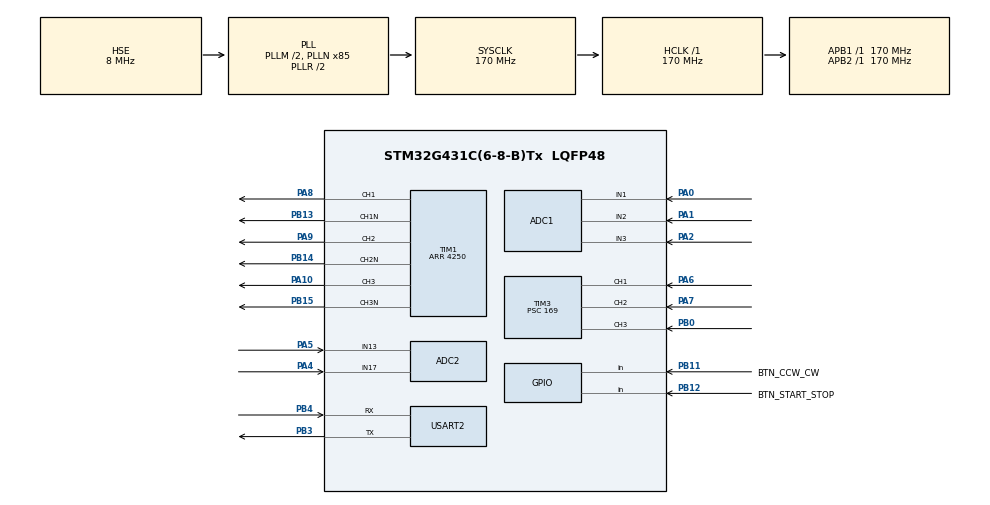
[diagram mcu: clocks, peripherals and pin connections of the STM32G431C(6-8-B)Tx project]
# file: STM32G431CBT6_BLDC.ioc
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ADC1.EnableInjectedConversion=ENABLE
ADC1.EnableRegularConversion=DISABLE
ADC1.ExternalTrigInjecConv=ADC_EXTERNALTRIGINJEC_T1_TRGO
ADC1.InjNumberOfConversion=3
ADC1.InjectedChannel-1\#ChannelInjectedConversion=ADC_CHANNEL_1
ADC1.InjectedChannel-2\#ChannelInjectedConversion=ADC_CHANNEL_2
ADC1.InjectedChannel-3\#ChannelInjectedConversion=ADC_CHANNEL_3
ADC1.InjectedOffsetNumber-1\#ChannelInjectedConversion=ADC_OFFSET_NONE
ADC1.InjectedOffsetNumber-2\#ChannelInjectedConversion=ADC_OFFSET_NONE
ADC1.InjectedOffsetNumber-3\#ChannelInjectedConversion=ADC_OFFSET_NONE
ADC1.InjectedRank-1\#ChannelInjectedConversion=1
ADC1.InjectedRank-2\#ChannelInjectedConversion=2
ADC1.InjectedRank-3\#ChannelInjectedConversion=3
ADC1.InjectedSamplingTime-1\#ChannelInjectedConversion=ADC_SAMPLETIME_12CYCLES_5
ADC1.InjectedSamplingTime-2\#ChannelInjectedConversion=ADC_SAMPLETIME_12CYCLES_5
ADC1.InjectedSamplingTime-3\#ChannelInjectedConversion=ADC_SAMPLETIME_12CYCLES_5
ADC1.Rank1_Channel=ADC_CHANNEL_1
ADC1.Rank2_Channel=ADC_CHANNEL_2
ADC1.Rank3_Channel=ADC_CHANNEL_3
ADC1.master=1
ADC2.Channel-0\#ChannelRegularConversion=ADC_CHANNEL_13
ADC2.EnableInjectedConversion=ENABLE
ADC2.ExternalTrigConv=ADC_EXTERNALTRIG_T1_TRGO
ADC2.ExternalTrigInjecConv=ADC_EXTERNALTRIGINJEC_T1_TRGO
ADC2.InjNumberOfConversion=1
ADC2.InjectedChannel-1\#ChannelInjectedConversion=ADC_CHANNEL_17
ADC2.InjectedOffsetNumber-1\#ChannelInjectedConversion=ADC_OFFSET_NONE
ADC2.InjectedRank-1\#ChannelInjectedConversion=1
ADC2.InjectedSamplingTime-1\#ChannelInjectedConversion=ADC_SAMPLETIME_24CYCLES_5
ADC2.NbrOfConversionFlag=1
ADC2.OffsetNumber-0\#ChannelRegularConversion=ADC_OFFSET_NONE
ADC2.Rank-0\#ChannelRegularConversion=1
ADC2.Rank1_Channel=ADC_CHANNEL_17
ADC2.SamplingTime-0\#ChannelRegularConversion=ADC_SAMPLETIME_640CYCLES_5
Mcu.Family=STM32G4
Mcu.Name=STM32G431C(6-8-B)Tx
Mcu.Package=LQFP48
NVIC.ADC1_2_IRQn=true\:0\:0\:false\:false\:true\:true\:true\:true
NVIC.PriorityGroup=NVIC_PRIORITYGROUP_4
NVIC.TIM3_IRQn=true\:0\:0\:false\:false\:true\:true\:true\:true
PA0.Mode=IN1-Single-Ended
PA0.Signal=ADC1_IN1
PA1.Mode=IN2-Single-Ended
PA1.Signal=ADC1_IN2
PA10.Signal=S_TIM1_CH3
PA13.Mode=Serial_Wire
PA13.Signal=SYS_JTMS-SWDIO
PA14.Mode=Serial_Wire
PA14.Signal=SYS_JTCK-SWCLK
PA2.Mode=IN3-Single-Ended
PA2.Signal=ADC1_IN3
PA4.Mode=IN17-Single-Ended
PA4.Signal=ADC2_IN17
PA5.Mode=IN13-Single-Ended
PA5.Signal=ADC2_IN13
PA6.Signal=S_TIM3_CH1
PA7.Signal=S_TIM3_CH2
PA8.Signal=S_TIM1_CH1
PA9.Signal=S_TIM1_CH2
PB0.Signal=S_TIM3_CH3
PB11.GPIO_Label=BTN_CCW_CW
PB11.Signal=GPIO_Input
PB12.GPIO_Label=BTN_START_STOP
PB12.Signal=GPIO_Input
PB13.Mode=PWM Generation1 CH1 CH1N
PB13.Signal=TIM1_CH1N
PB14.Mode=PWM Generation2 CH2 CH2N
PB14.Signal=TIM1_CH2N
PB15.Mode=PWM Generation3 CH3 CH3N
PB15.Signal=TIM1_CH3N
PB3.Mode=Asynchronous
PB3.Signal=USART2_TX
PB4.Mode=Asynchronous
PB4.Signal=USART2_RX
PF0-OSC_IN.Mode=HSE-External-Oscillator
PF0-OSC_IN.Signal=RCC_OSC_IN
PF1-OSC_OUT.Mode=HSE-External-Oscillator
PF1-OSC_OUT.Signal=RCC_OSC_OUT
ProjectManager.HeapSize=0x200
ProjectManager.StackSize=0x400
ProjectManager.TargetToolchain=CMake
RCC.ADC12Freq_Value=170000000
RCC.AHBFreq_Value=170000000
RCC.APB1Freq_Value=170000000
RCC.APB1TimFreq_Value=170000000
RCC.APB2Freq_Value=170000000
RCC.APB2TimFreq_Value=170000000
RCC.CortexFreq_Value=170000000
RCC.EXTERNAL_CLOCK_VALUE=12288000
RCC.HCLKFreq_Value=170000000
RCC.HSE_VALUE=8000000
RCC.HSI48_VALUE=48000000
RCC.HSI_VALUE=16000000
RCC.LSE_VALUE=32768
RCC.PLLM=RCC_PLLM_DIV2
RCC.PLLN=85
RCC.PLLSourceVirtual=RCC_PLLSOURCE_HSE
RCC.SYSCLKFreq_VALUE=170000000
RCC.SYSCLKSource=RCC_SYSCLKSOURCE_PLLCLK
RCC.USBFreq_Value=170000000
RCC.VCOOutputFreq_Value=340000000
SH.S_TIM1_CH1.0=TIM1_CH1,PWM Generation1 CH1 CH1N
SH.S_TIM1_CH2.0=TIM1_CH2,PWM Generation2 CH2 CH2N
SH.S_TIM1_CH3.0=TIM1_CH3,PWM Generation3 CH3 CH3N
SH.S_TIM3_CH1.0=TIM3_CH1,Xored_Inputs_Hall_Sensor_Interface
SH.S_TIM3_CH2.0=TIM3_CH2,Xored_Inputs_Hall_Sensor_Interface
SH.S_TIM3_CH3.0=TIM3_CH3,Xored_Inputs_Hall_Sensor_Interface
TIM1.Channel-PWM\ Generation1\ CH1\ CH1N=TIM_CHANNEL_1
TIM1.Channel-PWM\ Generation2\ CH2\ CH2N=TIM_CHANNEL_2
TIM1.Channel-PWM\ Generation3\ CH3\ CH3N=TIM_CHANNEL_3
TIM1.CounterMode=TIM_COUNTERMODE_CENTERALIGNED2
TIM1.DeadTime=203
TIM1.OCMode_PWM-PWM\ Generation1\ CH1\ CH1N=TIM_OCMODE_PWM2
TIM1.OCMode_PWM-PWM\ Generation2\ CH2\ CH2N=TIM_OCMODE_PWM2
TIM1.OCMode_PWM-PWM\ Generation3\ CH3\ CH3N=TIM_OCMODE_PWM2
TIM1.PeriodNoDither=4250
TIM1.PulseNoDither_1=4250
TIM1.PulseNoDither_2=4250
TIM1.PulseNoDither_3=4250
TIM1.TIM_MasterOutputTrigger=TIM_TRGO_UPDATE
TIM3.IC1Filter=15
TIM3.Prescaler=169
USART2.VirtualMode-Asynchronous=VM_ASYNC
VP_SYS_VS_DBSignals.Mode=DisableDeadBatterySignals
VP_TIM1_VS_ClockSourceINT.Mode=Internal
board=custom

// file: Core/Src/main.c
/* USER CODE BEGIN Header */
/**
  ******************************************************************************
  * @file           : main.c
  * @brief          : Main program body
  ******************************************************************************
  * @attention
  *
  * Copyright (c) 2026 STMicroelectronics.
  * All rights reserved.
  *
  * This software is licensed under terms that can be found in the LICENSE file
  * in the root directory of this software component.
  * If no LICENSE file comes with this software, it is provided AS-IS.
  *
  ******************************************************************************
  */
/* USER CODE END Header */
#include "main.h"
#include "adc.h"
#include "stm32g4xx_hal.h"
#include "tim.h"
#include "usart.h"
#include "gpio.h"

/* USER CODE BEGIN Includes */
#include "mcu_uart.h"
#include "mcu_pwm.h"
#include "stdio.h"
#include "m_ctrl.h"
#include "m_parameter.h"
#include "m_foc.h"
#include "mcu_hall.h"
#include "mcu_adc.h"
#include "mcu_key.h"
#include "string.h"
#include "m_pid.h"
#include "m_rotor_angle.h"
#include "m_svpwm.h"

/* USER CODE END Includes */

void SystemClock_Config(void);
/* USER CODE BEGIN PFP */
void pid_vofa_debug(void);
void observer_vofa_debug(void);
/* USER CODE END PFP */

extern volatile uint32_t g_adc_irq;
int main(void)
{

  /* MCU Configuration--------------------------------------------------------*/

  /* Reset of all peripherals, Initializes the Flash interface and the Systick. */
  HAL_Init();

  /* Configure the system clock */
  SystemClock_Config();

  /* Initialize all configured peripherals */
  MX_GPIO_Init();
  MX_USART2_UART_Init();
  MX_TIM1_Init();
  MX_ADC1_Init();
  MX_ADC2_Init();
  MX_TIM3_Init();
  /* USER CODE BEGIN 2 */
  drv_hall_init();
  drv_adc_init();
  drv_pwm_init();
  printf("foc driver board, hall svpwm project\r\n");

  HAL_Delay(200);  // 等待系统电源稳定
  m_motor_phase_current_offset_calculate();  //相电流静态误差计算
  /* USER CODE END 2 */

  /* Infinite loop */
  /* USER CODE BEGIN WHILE */
  while (1)
  {
    // m_us_radius_calculate();
    // m_motor_execute_ctrl();
    //drv_key_scan();
    //printf("%d %d %d\r\n", m_foc_unit.coordinate.q15_ud, m_id_pid_unit.q15_actual_value,m_id_pid_unit.q15_target_value);
    // m_hall_value_get();
    // switch (m_hall_unit.value) {
    //     case 1:
    //         m_svpwm_generate(MAX_DUTY_VALUE*0.5, EANGLE0);
    //         break;
    //     case 2:
    //         m_svpwm_generate(MAX_DUTY_VALUE*0.5, EANGLE240);
    //         break;
    //     case 3:
    //         m_svpwm_generate(MAX_DUTY_VALUE*0.5, EANGLE300);
    //         break;
    //     case 4:
    //          m_svpwm_generate(MAX_DUTY_VALUE*0.5, EANGLE120);
    //         break;
    //     case 5:
    //         m_svpwm_generate(MAX_DUTY_VALUE*0.5, EANGLE60);
    //         break;
    //     case 6:
    //          m_svpwm_generate(MAX_DUTY_VALUE*0.5, EANGLE180);
    //         break;
    //     default:
    //         printf("hall value: unknown\r\n");
    //         break;
    // }
    // printf("hall value: %d\r\n", m_hall_unit.value);

    observer_vofa_debug();
    // HAL_Delay(1000);
    // printf("%d\r\n", g_adc_irq);

    //pid_vofa_debug();
    /* USER CODE END WHILE */

  }
}

void SystemClock_Config(void)
{
  RCC_OscInitTypeDef RCC_OscInitStruct = {0};
  RCC_ClkInitTypeDef RCC_ClkInitStruct = {0};

  /** Configure the main internal regulator output voltage
  */
  HAL_PWREx_ControlVoltageScaling(PWR_REGULATOR_VOLTAGE_SCALE1_BOOST);

  /** Initializes the RCC Oscillators according to the specified parameters
  * in the RCC_OscInitTypeDef structure.
  */
  RCC_OscInitStruct.OscillatorType = RCC_OSCILLATORTYPE_HSE;
  RCC_OscInitStruct.HSEState = RCC_HSE_ON;
  RCC_OscInitStruct.PLL.PLLState = RCC_PLL_ON;
  RCC_OscInitStruct.PLL.PLLSource = RCC_PLLSOURCE_HSE;
  RCC_OscInitStruct.PLL.PLLM = RCC_PLLM_DIV2;
  RCC_OscInitStruct.PLL.PLLN = 85;
  RCC_OscInitStruct.PLL.PLLP = RCC_PLLP_DIV2;
  RCC_OscInitStruct.PLL.PLLQ = RCC_PLLQ_DIV2;
  RCC_OscInitStruct.PLL.PLLR = RCC_PLLR_DIV2;
  if (HAL_RCC_OscConfig(&RCC_OscInitStruct) != HAL_OK)
  {
    Error_Handler();
  }

  /** Initializes the CPU, AHB and APB buses clocks
  */
  RCC_ClkInitStruct.ClockType = RCC_CLOCKTYPE_HCLK|RCC_CLOCKTYPE_SYSCLK
                              |RCC_CLOCKTYPE_PCLK1|RCC_CLOCKTYPE_PCLK2;
  RCC_ClkInitStruct.SYSCLKSource = RCC_SYSCLKSOURCE_PLLCLK;
  RCC_ClkInitStruct.AHBCLKDivider = RCC_SYSCLK_DIV1;
  RCC_ClkInitStruct.APB1CLKDivider = RCC_HCLK_DIV1;
  RCC_ClkInitStruct.APB2CLKDivider = RCC_HCLK_DIV1;

  if (HAL_RCC_ClockConfig(&RCC_ClkInitStruct, FLASH_LATENCY_4) != HAL_OK)
  {
    Error_Handler();
  }
}

/* USER CODE BEGIN 4 */
/**
 ******************************************************************************
 * @brief  PID VOFA+调试  波特率1152000
 * @param  None.
 * @retval None.
 ******************************************************************************/
void pid_vofa_debug(void)
{
  char buf[256] = {0};

#if 1
    sprintf(buf, "channels: %d,%d\r\n", \
            m_motor_ctrl.m_spd.set_spd_val,
            m_motor_ctrl.m_spd.spd_val);
    drv_uart_send_data(DEBUG_COM, (uint8_t *)buf, (uint16_t)strlen(buf));
#endif

#if 0
    sprintf(buf, "channels: %d,%d\r\n", \
            m_iq_pid_unit.q15_target_value,
            m_iq_pid_unit.q15_actual_value);
    drv_uart_send_data(DEBUG_COM, (uint8_t *)buf, (uint16_t)strlen(buf));
#endif
}

/**
  ******************************************************************************
  * @brief  观测器 VOFA+调试   波特率1152000
  * @param  None.
  * @retval None.
  ******************************************************************************/
void observer_vofa_debug(void)
{
	char buf[256] = {0};

#if 0  //Iq
    float angle_deg = (float) m_foc_unit.rotor_engle / 10922.0f;
		sprintf(buf, "channels: %d,%d,%d,%d,%f,%d,%d,%d\r\n", \
    m_iq_pid_unit.q15_target_value,
    m_iq_pid_unit.q15_actual_value,
    m_id_pid_unit.q15_actual_value,
    m_hall_unit.value,
    angle_deg,
    m_foc_unit.coordinate.q15_uq,
    m_motor_ctrl.m_spd.set_spd_val,
    m_motor_ctrl.m_spd.spd_val
		);
#endif

#if 0  // SVPWM 三相马鞍波观察
    sprintf(buf, "channels: %d,%d,%d\r\n", \
            m_svpwm_unit.u_duty_value, \
            m_svpwm_unit.v_duty_value, \
            m_svpwm_unit.w_duty_value
    );
#endif

#if 1  // 相电流
    sprintf(buf, "channels: %d,%d,%d\r\n", \
            m_foc_unit.coordinate.q15_ia, \
            m_foc_unit.coordinate.q15_ib, \
            m_foc_unit.coordinate.q15_ic
    );
#endif

#if 0  // DQ轴电流
    sprintf(buf, "channels: %d,%d\r\n", \
            m_foc_unit.coordinate.q15_id, \
            m_foc_unit.coordinate.q15_iq
    );
#endif

#if 0  // DQ轴电压
    sprintf(buf, "channels: %d,%d\r\n", \
            m_foc_unit.coordinate.q15_ud, \
            m_foc_unit.coordinate.q15_uq
    );
#endif

#if 0  //δθ滤波前后角度变化比对
		sprintf(buf, "channels: %d,%d\r\n", \
		m_obs_angle_unit.q15_delta_theta, \
		m_obs_angle_unit.q15_filter_delta_theta
		);
#endif

#if 0  //α电流估算跟踪
		sprintf(buf, "channels: %d,%d\r\n", \
		m_obs_unit.q15_i_alpha_estimate, \
		m_foc_unit.coordinate.q15_i_alpha
		);
#endif

#if 0  //β电流估算跟踪
		sprintf(buf, "channels: %d,%d\r\n", \
		m_obs_unit.q15_i_beta_estimate, \
		m_foc_unit.coordinate.q15_i_beta \
		);
#endif

#if 0	//估算θe eRPM跟踪
		sprintf(buf, "channels: %d,%d\r\n", \
		m_rotor_angle_unit.q15_theta_e,
		m_rotor_angle_unit.q15_erpm
		);
#endif

#if 0	//Eα Eβ反电动势估算跟踪
		sprintf(buf, "channels: %d,%d\r\n", \
		m_obs_unit.q15_e_alpha_final,
		m_obs_unit.q15_e_beta_final
		);
#endif
	drv_uart_send_data(DEBUG_COM, (uint8_t *)buf, strlen(buf));
}
/* USER CODE END 4 */

void Error_Handler(void)
{
  __disable_irq();
  while (1)
  {
  }
}
